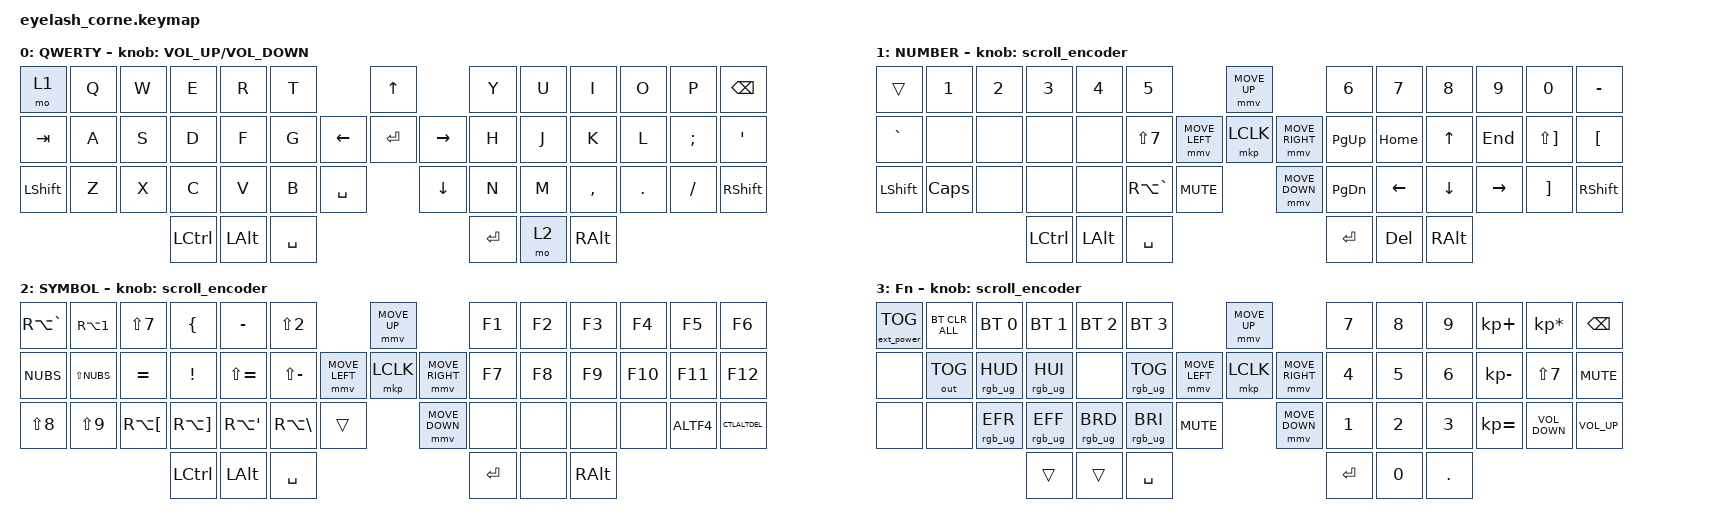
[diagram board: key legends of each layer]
#define ZMK_POINTING_DEFAULT_MOVE_VAL 1200  // 600
#define ZMK_POINTING_DEFAULT_SCRL_VAL 25   // 10

#include <input/processors.dtsi>
#include <zephyr/dt-bindings/input/input-event-codes.h>
#include <behaviors.dtsi>
#include <dt-bindings/zmk/bt.h>
#include <dt-bindings/zmk/ext_power.h>
#include <dt-bindings/zmk/keys.h>
#include <dt-bindings/zmk/outputs.h>
#include <dt-bindings/zmk/pointing.h>
#include <dt-bindings/zmk/rgb.h>

&mmv_input_listener { input-processors = <&zip_xy_scaler 2 1>; };

&msc_input_listener { input-processors = <&zip_scroll_scaler 2 1>; };

&msc {
    acceleration-exponent = <1>;      // 0
    time-to-max-speed-ms = <100>;       // 300
    delay-ms = <0>;                   // 0
};

&mmv {
    time-to-max-speed-ms = <500>;
    acceleration-exponent = <1>;
    trigger-period-ms = <16>;
};

&soft_off { hold-time-ms = <2000>; };

/ {
    behaviors {
        td0: td0 {
            compatible = "zmk,behavior-tap-dance";
            display-name = "Shift/Caps Lock Tap Dance";
            #binding-cells = <0>;
            bindings = <&kp LEFT_SHIFT>, <&kp CAPS>;
        };
    };

    rgb_encoder: rgb_encoder {
        compatible = "zmk,behavior-sensor-rotate";
        #sensor-binding-cells = <0>;
        bindings = <&rgb_ug RGB_BRI>, <&rgb_ug RGB_BRD>;
    };

    scroll_encoder: scroll_encoder {
        compatible = "zmk,behavior-sensor-rotate";
        #sensor-binding-cells = <0>;
        bindings = <&msc SCRL_DOWN>, <&msc SCRL_UP>;

        tap-ms = <100>;
    };

    combos {
        compatible = "zmk,combos";

        mocapa3 {
            bindings = <&mo 3>;
            key-positions = <28 13>;
        };

        cmb_esc {
            bindings = <&kp ESC>;
            key-positions = <28 41>;
        };

        cmb_gui {
            bindings = <&kp LEFT_GUI>;
            key-positions = <42 47>;
        };
    };

    macros {
        ALTF4: ALTF4 {
            compatible = "zmk,behavior-macro";
            #binding-cells = <0>;
            bindings = <&kp LA(F4)>;
            label = "ALTF4";
        };

        CTLALTDEL: CTLALTDEL {
            compatible = "zmk,behavior-macro";
            #binding-cells = <0>;
            bindings = <&kp LC(LA(DEL))>;
            label = "CTLALTDEL";
        };
    };

    keymap {
        compatible = "zmk,keymap";

        default_layer {
            display-name = "QWERTY";
            bindings = <
&mo 1           &kp Q  &kp W  &kp E      &kp R         &kp T                             &kp UP                &kp Y      &kp U  &kp I      &kp O    &kp P     &kp BSPC
&kp TAB         &kp A  &kp S  &kp D      &kp F         &kp G                   &kp LEFT  &kp ENTER  &kp RIGHT  &kp H      &kp J  &kp K      &kp L    &kp SEMI  &kp SQT
&kp LEFT_SHIFT  &kp Z  &kp X  &kp C      &kp V         &kp B      &kp SPACE              &kp DOWN              &kp N      &kp M  &kp COMMA  &kp DOT  &kp FSLH  &kp RIGHT_SHIFT
                              &kp LCTRL  &kp LEFT_ALT  &kp SPACE                                               &kp ENTER  &mo 2  &kp RALT
            >;

            sensor-bindings = <&inc_dec_kp C_VOLUME_UP C_VOLUME_DOWN>;
        };

        lower_layer {
            display-name = "NUMBER";
            bindings = <
&trans          &kp N1        &kp N2  &kp N3            &kp N4        &kp N5                                       &mmv MOVE_UP                     &kp N6         &kp N7    &kp N8    &kp N9     &kp N0                 &kp MINUS
&kp GRAVE       &none         &none   &none             &none         &kp LS(N7)                   &mmv MOVE_LEFT  &mkp LCLK       &mmv MOVE_RIGHT  &kp PG_UP      &kp HOME  &kp UP    &kp END    &kp LS(RIGHT_BRACKET)  &kp LBKT
&kp LEFT_SHIFT  &kp CAPSLOCK  &none   &none             &none         &kp RA(GRAVE)  &kp C_MUTE                    &mmv MOVE_DOWN                   &kp PAGE_DOWN  &kp LEFT  &kp DOWN  &kp RIGHT  &kp RBKT               &kp RIGHT_SHIFT
                                      &kp LEFT_CONTROL  &kp LEFT_ALT  &kp SPACE                                                                     &kp ENTER      &kp DEL   &kp RALT
            >;

            sensor-bindings = <&scroll_encoder>;
        };

        raise_layer {
            display-name = "SYMBOL";
            bindings = <
&kp RA(GRAVE)  &kp RA(N1)    &kp LS(N7)    &kp LEFT_BRACE    &kp MINUS           &kp LS(NUMBER_2)                            &mmv MOVE_UP                     &kp F1   &kp F2  &kp F3         &kp F4   &kp F5   &kp F6
&kp NUBS       &kp LS(NUBS)  &kp EQUAL     &kp EXCLAMATION   &kp LS(EQUAL)       &kp LS(MINUS)               &mmv MOVE_LEFT  &mkp LCLK       &mmv MOVE_RIGHT  &kp F7   &kp F8  &kp F9         &kp F10  &kp F11  &kp F12
&kp LS(N8)     &kp LS(N9)    &kp RA(LBKT)  &kp RA(RBKT)      &kp RA(APOSTROPHE)  &kp RA(BSLH)      &trans                    &mmv MOVE_DOWN                   &none    &none   &none          &none    &ALTF4   &CTLALTDEL
                                           &kp LEFT_CONTROL  &kp LEFT_ALT        &kp SPACE                                                                    &kp RET  &none   &kp RIGHT_ALT
            >;

            sensor-bindings = <&scroll_encoder>;
        };

        layer_3 {
            display-name = "Fn";
            bindings = <
&ext_power EP_TOG  &bt BT_CLR_ALL  &bt BT_SEL 0     &bt BT_SEL 1     &bt BT_SEL 2     &bt BT_SEL 3                                   &mmv MOVE_UP                     &kp N7     &kp N8  &kp N9   &kp KP_PLUS   &kp KP_MULTIPLY    &kp BACKSPACE
&none              &out OUT_TOG    &rgb_ug RGB_HUD  &rgb_ug RGB_HUI  &none            &rgb_ug RGB_TOG                &mmv MOVE_LEFT  &mkp LCLK       &mmv MOVE_RIGHT  &kp N4     &kp N5  &kp N6   &kp KP_MINUS  &kp LS(N7)         &kp K_MUTE
&none              &none           &rgb_ug RGB_EFR  &rgb_ug RGB_EFF  &rgb_ug RGB_BRD  &rgb_ug RGB_BRI  &kp C_MUTE                    &mmv MOVE_DOWN                   &kp N1     &kp N2  &kp N3   &kp KP_EQUAL  &kp C_VOLUME_DOWN  &kp C_VOLUME_UP
                                                    &trans           &trans           &kp SPACE                                                                       &kp ENTER  &kp N0  &kp DOT
            >;

            sensor-bindings = <&scroll_encoder>;
        };
    };
};
